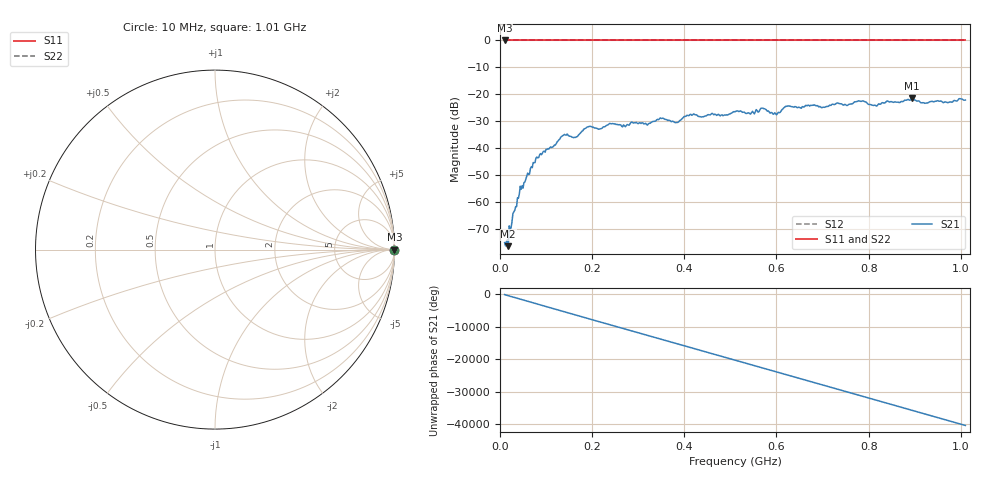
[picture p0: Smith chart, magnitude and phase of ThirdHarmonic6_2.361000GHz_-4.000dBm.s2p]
! 8/17/2025 3:37:30 AM
! C:\ANRITSUVNA\TEMP\TEMP.S2P
! CHANNEL.1
! TR.MEASUREMENT
! RAW.DATA
! RF.CORRECTION.OFF
! AVERAGING.OFF
! IF.BANDWIDTH: 5KHZ
! SWEEPTYPE:  FREQ.SWEEP(Linear)
! Reference Plane Port Info
! PORT:  PORT1  PORT2
! DISTANCE:  0  m  0  m
! TIME:  0  s  0  s
! PHASE.OFFSET:  0  deg.  0  deg.
! LOSS:  0  dB  0  dB
! REF.LOSS:  0  dB  0  dB
! REF.FREQ:  0  Hz  0  Hz
! Power Info
! POWER:  -20  dBm  -20  dBm
! EFF.POWER:  -20  dBm  -20  dBm
! SOURCE.ATTEN:  0  dB  0  dB
! TEST.ATTEN:  0  dB  0  dB
# GHZ S RI R 50.0
! FREQ.GHZ  S11RE  S11IM  S21RE  S21IM  S12RE  S12IM  S22RE  S22IM
!; PortSelection: Port_12
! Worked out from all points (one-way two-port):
!   501 points, 10 MHz to 1.01 GHz, reference 50 ohm
!   highest |S21| = -21.50 dB at 894 MHz (marker M1); lowest = -76.5 dB at 18 MHz (marker M2)
!   lowest |S11| = 0.0 dB at 10 MHz (marker M3)
!   |S11| at or under -10 dB: nowhere
!   |S22| runs from 0.0 to 0.0 dB; largest |S21 - S12| = 1.1
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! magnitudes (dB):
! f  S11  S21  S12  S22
! 10 MHz  0.0  -75.2  0.0  0.0
! 14 MHz  0.0  -74.7  0.0  0.0
! 18 MHz  0.0  -76.5  0.0  0.0
! 42 MHz  0.0  -57.0  0.0  0.0
! 76 MHz  0.0  -45.4  0.0  0.0
! 136 MHz  0.0  -35.4  0.0  0.0
! 164 MHz  0.0  -36.1  0.0  0.0
! 178 MHz  0.0  -33.8  0.0  0.0
! 194 MHz  0.0  -32.0  0.0  0.0
! 322 MHz  0.0  -31.0  0.0  0.0
! 344 MHz  0.0  -29.5  0.0  0.0
! 384 MHz  0.0  -30.5  0.0  0.0
! 410 MHz  0.0  -28.0  0.0  0.0
! 510 MHz  0.0  -26.5  0.0  0.0
! 570 MHz  0.0  -25.2  0.0  0.0
! 598 MHz  0.0  -27.1  0.0  0.0
! 622 MHz  0.0  -24.5  0.0  0.0
! 678 MHz  0.0  -24.1  0.0  0.0
! 844 MHz  0.0  -22.8  0.0  0.0
! 894 MHz  0.0  -21.5  0.0  0.0
! 924 MHz  0.0  -23.3  0.0  0.0
! 1.01 GHz  0.0  -22.2  0.0  0.0
